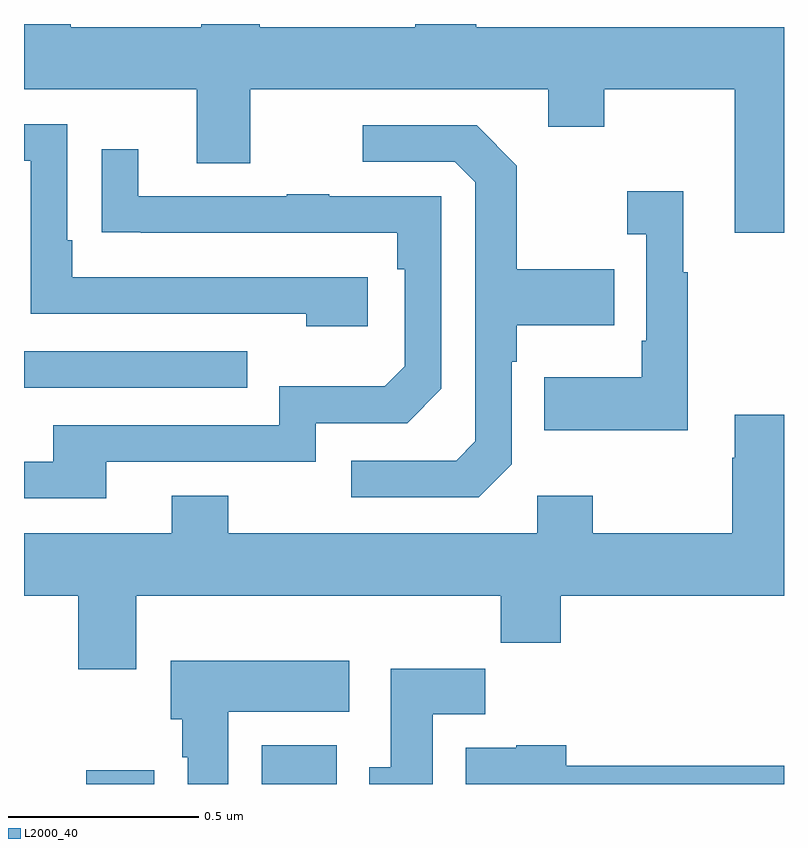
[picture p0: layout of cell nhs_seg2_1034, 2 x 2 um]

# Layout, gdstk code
import gdstk
lib = gdstk.Library(unit=1e-6, precision=1e-09)
def R(c, l, rs):  # rectangles x0, y0, x1, y1
    for r in rs: c.add(gdstk.rectangle(r[:2], r[2:], *l))
def P(c, l, *ps):  # polygons
    for p in ps: c.add(gdstk.Polygon(p, *l))
L2000_40 = (2000, 40)

nhs_seg2_1034 = lib.new_cell('nhs_seg2_1034')
R(nhs_seg2_1034, L2000_40, [(123.164,653.8,123.343,653.836), (123.626,653.8,123.823,653.902), (123,654.843,123.587,654.939)])
P(nhs_seg2_1034, L2000_40, [(125,655.792),(124.19,655.792),(124.19,655.8),(124.03,655.8),(124.03,655.792),(123.621,655.792),(123.621,655.8),(123.466,655.8),(123.466,655.792),(123.123,655.792),(123.123,655.8),(123,655.8),(123,655.628),(123.455,655.628),(123.455,655.434),(123.595,655.434),(123.595,655.628),(124.379,655.628),(124.379,655.529),(124.527,655.529),(124.527,655.628),(124.871,655.628),(124.871,655.251),(125,655.251)],
  [(123.904,655.134),(123.127,655.134),(123.127,655.231),(123.114,655.231),(123.114,655.536),(123,655.536),(123,655.44),(123.018,655.44),(123.018,655.038),(123.743,655.038),(123.743,655.004),(123.904,655.004)],
  [(124.284,654.642),(124.284,654.911),(124.297,654.911),(124.297,655.007),(124.553,655.007),(124.553,655.155),(124.297,655.155),(124.297,655.427),(124.191,655.533),(123.891,655.533),(123.891,655.437),(124.134,655.437),(124.188,655.383),(124.188,654.702),(124.137,654.651),(123.861,654.651),(123.861,654.555),(124.197,654.555)],
  [(123.217,654.648),(123.768,654.648),(123.768,654.75),(124.008,654.75),(124.098,654.84),(124.098,655.347),(123.803,655.347),(123.803,655.352),(123.691,655.352),(123.691,655.347),(123.301,655.347),(123.301,655.471),(123.205,655.471),(123.205,655.252),(123.307,655.252),(123.307,655.251),(123.982,655.251),(123.982,655.154),(124.002,655.154),(124.002,654.9),(123.949,654.847),(123.672,654.847),(123.672,654.744),(123.077,654.744),(123.077,654.648),(123,654.648),(123,654.552),(123.217,654.552)],
  [(124.747,655.147),(124.735,655.147),(124.735,655.36),(124.587,655.36),(124.587,655.247),(124.638,655.247),(124.638,654.967),(124.626,654.967),(124.626,654.871),(124.369,654.871),(124.369,654.731),(124.747,654.731)],
  [(123.295,654.296),(124.255,654.296),(124.255,654.172),(124.412,654.172),(124.412,654.296),(125,654.296),(125,654.772),(124.871,654.772),(124.871,654.659),(124.864,654.659),(124.864,654.46),(124.497,654.46),(124.497,654.559),(124.35,654.559),(124.35,654.46),(123.537,654.46),(123.537,654.559),(123.389,654.559),(123.389,654.46),(123,654.46),(123,654.296),(123.143,654.296),(123.143,654.102),(123.295,654.102)],
  [(123.538,653.99),(123.856,653.99),(123.856,654.124),(123.386,654.124),(123.386,653.97),(123.416,653.97),(123.416,653.87),(123.431,653.87),(123.431,653.8),(123.538,653.8)],
  [(124.075,653.984),(124.214,653.984),(124.214,654.103),(123.965,654.103),(123.965,653.844),(123.908,653.844),(123.908,653.8),(124.075,653.8)],
  [(125,653.848),(124.427,653.848),(124.427,653.902),(124.296,653.902),(124.296,653.896),(124.163,653.896),(124.163,653.8),(125,653.8)])

lib.write_gds('nhs_seg2_1034.gds')
